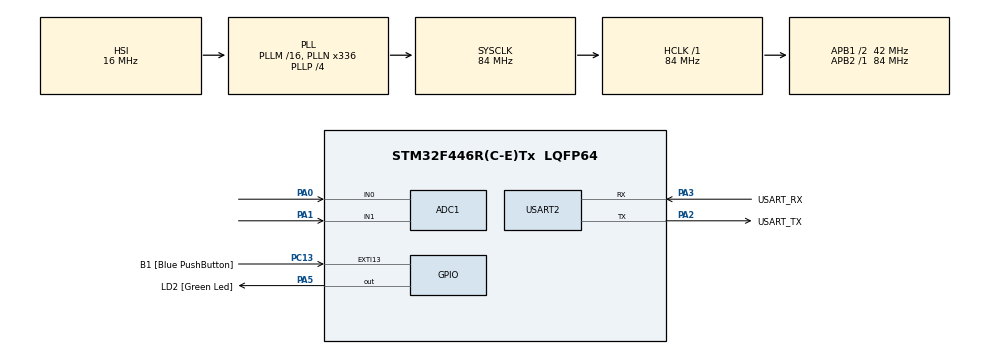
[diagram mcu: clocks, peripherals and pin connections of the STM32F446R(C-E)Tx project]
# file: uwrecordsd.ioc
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ADC1.Channel-0\#ChannelRegularConversion=ADC_CHANNEL_1
ADC1.Channel-1\#ChannelRegularConversion=ADC_CHANNEL_0
ADC1.DMAContinuousRequests=ENABLE
ADC1.EOCSelection=ADC_EOC_SEQ_CONV
ADC1.EnableAnalogWatchDog=true
ADC1.ExternalTrigConv=ADC_EXTERNALTRIGCONV_T2_TRGO
ADC1.NbrOfConversion=2
ADC1.NbrOfConversionFlag=1
ADC1.Rank-0\#ChannelRegularConversion=1
ADC1.Rank-1\#ChannelRegularConversion=2
ADC1.SamplingTime-0\#ChannelRegularConversion=ADC_SAMPLETIME_3CYCLES
ADC1.SamplingTime-1\#ChannelRegularConversion=ADC_SAMPLETIME_3CYCLES
ADC1.ScanConvMode=ENABLE
ADC1.master=1
Dma.ADC1.0.Direction=DMA_PERIPH_TO_MEMORY
Dma.ADC1.0.FIFOMode=DMA_FIFOMODE_DISABLE
Dma.ADC1.0.Instance=DMA2_Stream0
Dma.ADC1.0.MemDataAlignment=DMA_MDATAALIGN_HALFWORD
Dma.ADC1.0.MemInc=DMA_MINC_ENABLE
Dma.ADC1.0.Mode=DMA_NORMAL
Dma.ADC1.0.PeriphDataAlignment=DMA_PDATAALIGN_HALFWORD
Dma.ADC1.0.PeriphInc=DMA_PINC_DISABLE
Dma.ADC1.0.Priority=DMA_PRIORITY_LOW
Dma.Request0=ADC1
Mcu.Family=STM32F4
Mcu.Name=STM32F446R(C-E)Tx
Mcu.Package=LQFP64
NVIC.ADC_IRQn=true\:0\:0\:false\:false\:true\:true\:true\:true
NVIC.DMA2_Stream0_IRQn=true\:0\:0\:false\:false\:true\:false\:true\:true
NVIC.PriorityGroup=NVIC_PRIORITYGROUP_0
PA0-WKUP.Signal=ADCx_IN0
PA1.Signal=ADCx_IN1
PA13.GPIO_Label=TMS
PA13.Mode=Serial_Wire
PA13.Signal=SYS_JTMS-SWDIO
PA14.GPIO_Label=TCK
PA14.Mode=Serial_Wire
PA14.Signal=SYS_JTCK-SWCLK
PA2.GPIO_Label=USART_TX
PA2.Mode=Asynchronous
PA2.Signal=USART2_TX
PA3.GPIO_Label=USART_RX
PA3.Mode=Asynchronous
PA3.Signal=USART2_RX
PA5.GPIO_Label=LD2 [Green Led]
PA5.Signal=GPIO_Output
PB3.GPIO_Label=SWO
PB3.Signal=SYS_JTDO-SWO
PC13.GPIO_Label=B1 [Blue PushButton]
PC13.GPIO_ModeDefaultEXTI=GPIO_MODE_IT_FALLING
PC13.Signal=GPXTI13
PC14-OSC32_IN.Mode=LSE-External-Oscillator
PC14-OSC32_IN.Signal=RCC_OSC32_IN
PC15-OSC32_OUT.Mode=LSE-External-Oscillator
PC15-OSC32_OUT.Signal=RCC_OSC32_OUT
PH0-OSC_IN.Mode=HSE-External-Oscillator
PH0-OSC_IN.Signal=RCC_OSC_IN
PH1-OSC_OUT.Mode=HSE-External-Oscillator
PH1-OSC_OUT.Signal=RCC_OSC_OUT
ProjectManager.HeapSize=0x200
ProjectManager.StackSize=0x400
ProjectManager.TargetToolchain=STM32CubeIDE
RCC.48MHZClocksFreq_Value=84000000
RCC.AHBFreq_Value=84000000
RCC.APB1CLKDivider=RCC_HCLK_DIV2
RCC.APB1Freq_Value=42000000
RCC.APB1TimFreq_Value=84000000
RCC.APB2Freq_Value=84000000
RCC.APB2TimFreq_Value=84000000
RCC.CortexFreq_Value=84000000
RCC.FLatency-AdvancedSettings=FLASH_LATENCY_2
RCC.HCLKFreq_Value=84000000
RCC.HSE_VALUE=8000000
RCC.HSI_VALUE=16000000
RCC.PLLN=336
RCC.PLLP=RCC_PLLP_DIV4
RCC.SYSCLKFreq_VALUE=84000000
RCC.SYSCLKSource=RCC_SYSCLKSOURCE_PLLCLK
RCC.USBFreq_Value=168000000
RCC.VCOOutputFreq_Value=336000000
SH.ADCx_IN0.0=ADC1_IN0,IN0
SH.ADCx_IN1.0=ADC1_IN1,IN1
TIM2.AutoReloadPreload=TIM_AUTORELOAD_PRELOAD_ENABLE
TIM2.Period=50
TIM2.Prescaler=32
TIM2.TIM_MasterOutputTrigger=TIM_TRGO_UPDATE
USART2.VirtualMode=VM_ASYNC
VP_TIM2_VS_ClockSourceINT.Mode=Internal
board=NUCLEO-F446RE

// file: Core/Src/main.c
/* USER CODE BEGIN Header */
/**
  ******************************************************************************
  * @file           : main.c
  * @brief          : Main program body
  ******************************************************************************
  * @attention
  *
  * Copyright (c) 2023 STMicroelectronics.
  * All rights reserved.
  *
  * This software is licensed under terms that can be found in the LICENSE file
  * in the root directory of this software component.
  * If no LICENSE file comes with this software, it is provided AS-IS.
  *
  ******************************************************************************
  */
/* USER CODE END Header */
#include "main.h"

ADC_HandleTypeDef hadc1;
DMA_HandleTypeDef hdma_adc1;

TIM_HandleTypeDef htim2;

UART_HandleTypeDef huart2;

void SystemClock_Config(void);
static void MX_GPIO_Init(void);
static void MX_DMA_Init(void);
static void MX_USART2_UART_Init(void);
static void MX_ADC1_Init(void);
static void MX_TIM2_Init(void);

/* USER CODE BEGIN 0 */

char strA1[30];
volatile uint16_t ad1_raw[5];
const int adcChannelCount = 2;
volatile int adcConversionComplete = 0;
volatile uint32_t millis = 0;
volatile uint32_t conv_rate = 0;

void DMA_ADC_Complete(DMA_HandleTypeDef *_hdma)
{

}

void HAL_ADC_ConvCpltCallback(ADC_HandleTypeDef* hadc)
{
	adcConversionComplete = 1;
	conv_rate++;
}

/* USER CODE END 0 */

int main(void)
{
  /* USER CODE BEGIN 1 */

	uint32_t a_shot = 0;
	uint32_t b_shot = 0;

  /* USER CODE END 1 */

  /* MCU Configuration--------------------------------------------------------*/

  /* Reset of all peripherals, Initializes the Flash interface and the Systick. */
  HAL_Init();

  /* Configure the system clock */
  SystemClock_Config();

  /* Initialize all configured peripherals */
  MX_GPIO_Init();
  MX_DMA_Init();
  MX_USART2_UART_Init();
  MX_ADC1_Init();
  MX_TIM2_Init();
  /* USER CODE BEGIN 2 */

  HAL_ADC_Start_DMA(&hadc1, (uint32_t *)ad1_raw, adcChannelCount);
  HAL_TIM_Base_Start(&htim2);

  /* USER CODE END 2 */

  /* Infinite loop */
  /* USER CODE BEGIN WHILE */
  while (1)
  {
	  if(HAL_GetTick() > (a_shot + 1000))
	  {
		  a_shot = HAL_GetTick();
		  if(adcConversionComplete == 1)
		  {
			  adcConversionComplete = 0;
			  sprintf(strA1, "A0 - %d A1 - %d CONV RATE: %d\n", ad1_raw[0], ad1_raw[1], conv_rate);
			  HAL_UART_Transmit(&huart2, strA1, strlen(strA1), 1000);
			  conv_rate = 0;
		  }
	  }

    /* USER CODE END WHILE */

  }
}

void SystemClock_Config(void)
{
  RCC_OscInitTypeDef RCC_OscInitStruct = {0};
  RCC_ClkInitTypeDef RCC_ClkInitStruct = {0};

  /** Configure the main internal regulator output voltage
  */
  __HAL_RCC_PWR_CLK_ENABLE();
  __HAL_PWR_VOLTAGESCALING_CONFIG(PWR_REGULATOR_VOLTAGE_SCALE3);

  /** Initializes the RCC Oscillators according to the specified parameters
  * in the RCC_OscInitTypeDef structure.
  */
  RCC_OscInitStruct.OscillatorType = RCC_OSCILLATORTYPE_HSI;
  RCC_OscInitStruct.HSIState = RCC_HSI_ON;
  RCC_OscInitStruct.HSICalibrationValue = RCC_HSICALIBRATION_DEFAULT;
  RCC_OscInitStruct.PLL.PLLState = RCC_PLL_ON;
  RCC_OscInitStruct.PLL.PLLSource = RCC_PLLSOURCE_HSI;
  RCC_OscInitStruct.PLL.PLLM = 16;
  RCC_OscInitStruct.PLL.PLLN = 336;
  RCC_OscInitStruct.PLL.PLLP = RCC_PLLP_DIV4;
  RCC_OscInitStruct.PLL.PLLQ = 2;
  RCC_OscInitStruct.PLL.PLLR = 2;
  if (HAL_RCC_OscConfig(&RCC_OscInitStruct) != HAL_OK)
  {
    Error_Handler();
  }

  /** Initializes the CPU, AHB and APB buses clocks
  */
  RCC_ClkInitStruct.ClockType = RCC_CLOCKTYPE_HCLK|RCC_CLOCKTYPE_SYSCLK
                              |RCC_CLOCKTYPE_PCLK1|RCC_CLOCKTYPE_PCLK2;
  RCC_ClkInitStruct.SYSCLKSource = RCC_SYSCLKSOURCE_PLLCLK;
  RCC_ClkInitStruct.AHBCLKDivider = RCC_SYSCLK_DIV1;
  RCC_ClkInitStruct.APB1CLKDivider = RCC_HCLK_DIV2;
  RCC_ClkInitStruct.APB2CLKDivider = RCC_HCLK_DIV1;

  if (HAL_RCC_ClockConfig(&RCC_ClkInitStruct, FLASH_LATENCY_2) != HAL_OK)
  {
    Error_Handler();
  }
}

static void MX_ADC1_Init(void)
{

  ADC_AnalogWDGConfTypeDef AnalogWDGConfig = {0};
  ADC_ChannelConfTypeDef sConfig = {0};

  /** Configure the global features of the ADC (Clock, Resolution, Data Alignment and number of conversion)
  */
  hadc1.Instance = ADC1;
  hadc1.Init.ClockPrescaler = ADC_CLOCK_SYNC_PCLK_DIV4;
  hadc1.Init.Resolution = ADC_RESOLUTION_12B;
  hadc1.Init.ScanConvMode = ENABLE;
  hadc1.Init.ContinuousConvMode = DISABLE;
  hadc1.Init.DiscontinuousConvMode = DISABLE;
  hadc1.Init.ExternalTrigConvEdge = ADC_EXTERNALTRIGCONVEDGE_RISING;
  hadc1.Init.ExternalTrigConv = ADC_EXTERNALTRIGCONV_T2_TRGO;
  hadc1.Init.DataAlign = ADC_DATAALIGN_RIGHT;
  hadc1.Init.NbrOfConversion = 2;
  hadc1.Init.DMAContinuousRequests = ENABLE;
  hadc1.Init.EOCSelection = ADC_EOC_SEQ_CONV;
  if (HAL_ADC_Init(&hadc1) != HAL_OK)
  {
    Error_Handler();
  }

  /** Configure the analog watchdog
  */
  AnalogWDGConfig.WatchdogMode = ADC_ANALOGWATCHDOG_SINGLE_REG;
  AnalogWDGConfig.HighThreshold = 0;
  AnalogWDGConfig.LowThreshold = 0;
  AnalogWDGConfig.Channel = ADC_CHANNEL_0;
  AnalogWDGConfig.ITMode = DISABLE;
  if (HAL_ADC_AnalogWDGConfig(&hadc1, &AnalogWDGConfig) != HAL_OK)
  {
    Error_Handler();
  }

  /** Configure for the selected ADC regular channel its corresponding rank in the sequencer and its sample time.
  */
  sConfig.Channel = ADC_CHANNEL_1;
  sConfig.Rank = 1;
  sConfig.SamplingTime = ADC_SAMPLETIME_3CYCLES;
  if (HAL_ADC_ConfigChannel(&hadc1, &sConfig) != HAL_OK)
  {
    Error_Handler();
  }

  /** Configure for the selected ADC regular channel its corresponding rank in the sequencer and its sample time.
  */
  sConfig.Channel = ADC_CHANNEL_0;
  sConfig.Rank = 2;
  if (HAL_ADC_ConfigChannel(&hadc1, &sConfig) != HAL_OK)
  {
    Error_Handler();
  }

}

static void MX_TIM2_Init(void)
{

  TIM_ClockConfigTypeDef sClockSourceConfig = {0};
  TIM_MasterConfigTypeDef sMasterConfig = {0};

  htim2.Instance = TIM2;
  htim2.Init.Prescaler = 32;
  htim2.Init.CounterMode = TIM_COUNTERMODE_UP;
  htim2.Init.Period = 50;
  htim2.Init.ClockDivision = TIM_CLOCKDIVISION_DIV1;
  htim2.Init.AutoReloadPreload = TIM_AUTORELOAD_PRELOAD_ENABLE;
  if (HAL_TIM_Base_Init(&htim2) != HAL_OK)
  {
    Error_Handler();
  }
  sClockSourceConfig.ClockSource = TIM_CLOCKSOURCE_INTERNAL;
  if (HAL_TIM_ConfigClockSource(&htim2, &sClockSourceConfig) != HAL_OK)
  {
    Error_Handler();
  }
  sMasterConfig.MasterOutputTrigger = TIM_TRGO_UPDATE;
  sMasterConfig.MasterSlaveMode = TIM_MASTERSLAVEMODE_DISABLE;
  if (HAL_TIMEx_MasterConfigSynchronization(&htim2, &sMasterConfig) != HAL_OK)
  {
    Error_Handler();
  }

}

static void MX_USART2_UART_Init(void)
{

  huart2.Instance = USART2;
  huart2.Init.BaudRate = 115200;
  huart2.Init.WordLength = UART_WORDLENGTH_8B;
  huart2.Init.StopBits = UART_STOPBITS_1;
  huart2.Init.Parity = UART_PARITY_NONE;
  huart2.Init.Mode = UART_MODE_TX_RX;
  huart2.Init.HwFlowCtl = UART_HWCONTROL_NONE;
  huart2.Init.OverSampling = UART_OVERSAMPLING_16;
  if (HAL_UART_Init(&huart2) != HAL_OK)
  {
    Error_Handler();
  }

}

static void MX_DMA_Init(void)
{

  /* DMA controller clock enable */
  __HAL_RCC_DMA2_CLK_ENABLE();

  /* DMA interrupt init */
  /* DMA2_Stream0_IRQn interrupt configuration */
  HAL_NVIC_SetPriority(DMA2_Stream0_IRQn, 0, 0);
  HAL_NVIC_EnableIRQ(DMA2_Stream0_IRQn);

}

static void MX_GPIO_Init(void)
{
  GPIO_InitTypeDef GPIO_InitStruct = {0};

  /* GPIO Ports Clock Enable */
  __HAL_RCC_GPIOC_CLK_ENABLE();
  __HAL_RCC_GPIOH_CLK_ENABLE();
  __HAL_RCC_GPIOA_CLK_ENABLE();
  __HAL_RCC_GPIOB_CLK_ENABLE();

  /*Configure GPIO pin Output Level */
  HAL_GPIO_WritePin(LD2_GPIO_Port, LD2_Pin, GPIO_PIN_RESET);

  /*Configure GPIO pin : B1_Pin */
  GPIO_InitStruct.Pin = B1_Pin;
  GPIO_InitStruct.Mode = GPIO_MODE_IT_FALLING;
  GPIO_InitStruct.Pull = GPIO_NOPULL;
  HAL_GPIO_Init(B1_GPIO_Port, &GPIO_InitStruct);

  /*Configure GPIO pin : LD2_Pin */
  GPIO_InitStruct.Pin = LD2_Pin;
  GPIO_InitStruct.Mode = GPIO_MODE_OUTPUT_PP;
  GPIO_InitStruct.Pull = GPIO_NOPULL;
  GPIO_InitStruct.Speed = GPIO_SPEED_FREQ_LOW;
  HAL_GPIO_Init(LD2_GPIO_Port, &GPIO_InitStruct);

}

void Error_Handler(void)
{
  __disable_irq();
  while (1)
  {
  }
}
